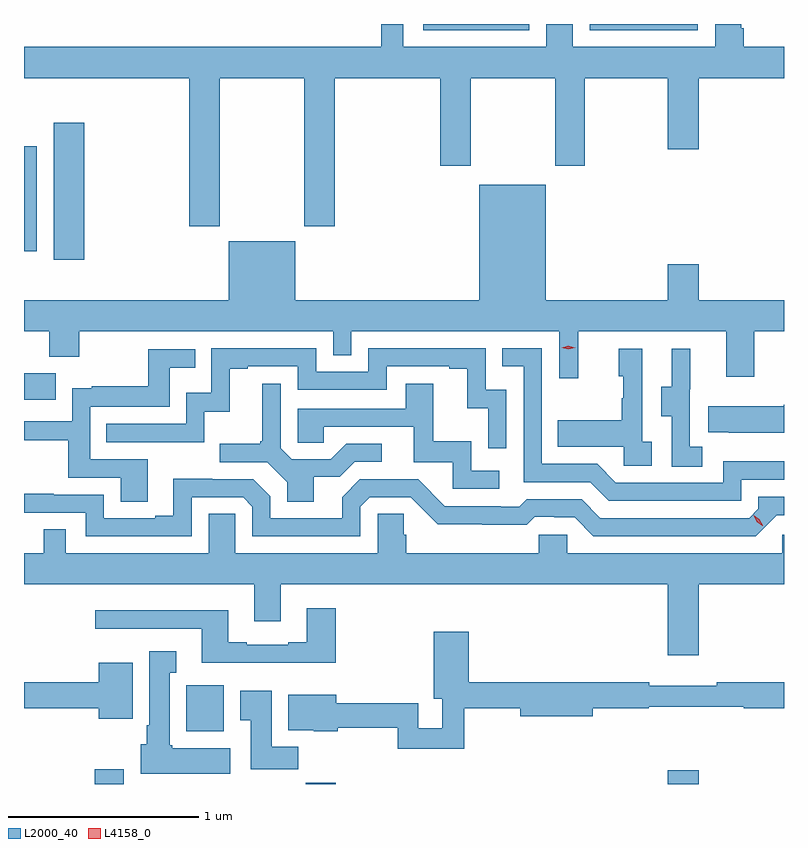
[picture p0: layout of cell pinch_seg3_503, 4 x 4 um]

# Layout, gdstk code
import gdstk
lib = gdstk.Library(unit=1e-6, precision=1e-09)
def R(c, l, rs):  # rectangles x0, y0, x1, y1
    for r in rs: c.add(gdstk.rectangle(r[:2], r[2:], *l))
def P(c, l, *ps):  # polygons
    for p in ps: c.add(gdstk.Polygon(p, *l))
L2000_40 = (2000, 40)
L4158_0 = (4158, 0)

pinch_seg3_503 = lib.new_cell('pinch_seg3_503')
R(pinch_seg3_503, L2000_40, [(989.165,675.889,989.317,675.967), (990.277,675.889,990.434,675.896), (992.18,675.889,992.344,675.961), (989.648,676.166,989.845,676.408), (988.793,677.912,988.961,678.052), (988.949,678.648,989.11,679.369), (988.793,678.694,988.86,679.246), (990.894,679.857,991.452,679.889), (991.77,679.857,992.34,679.889)])
P(pinch_seg3_503, L2000_40, [(989.823,679.604),(990.268,679.604),(990.268,678.825),(990.428,678.825),(990.428,679.604),(990.983,679.604),(990.983,679.143),(991.143,679.143),(991.143,679.604),(991.588,679.604),(991.588,679.143),(991.743,679.143),(991.743,679.604),(992.18,679.604),(992.18,679.23),(992.344,679.23),(992.344,679.604),(992.793,679.604),(992.793,679.768),(992.582,679.768),(992.582,679.866),(992.567,679.866),(992.567,679.889),(992.43,679.889),(992.43,679.768),(991.68,679.768),(991.68,679.889),(991.541,679.889),(991.541,679.768),(990.789,679.768),(990.789,679.889),(990.673,679.889),(990.673,679.768),(988.793,679.768),(988.793,679.604),(989.663,679.604),(989.663,678.825),(989.823,678.825)],
  [(991.709,678.272),(992.489,678.272),(992.489,678.033),(992.637,678.033),(992.637,678.272),(992.793,678.272),(992.793,678.436),(992.344,678.436),(992.344,678.625),(992.18,678.625),(992.18,678.436),(991.54,678.436),(991.54,679.042),(991.19,679.042),(991.19,678.436),(990.22,678.436),(990.22,678.745),(989.87,678.745),(989.87,678.436),(988.793,678.436),(988.793,678.272),(988.925,678.272),(988.925,678.137),(989.085,678.137),(989.085,678.272),(990.42,678.272),(990.42,678.145),(990.516,678.145),(990.516,678.272),(991.611,678.272),(991.611,678.024),(991.709,678.024)],
  [(991.332,677.964),(991.224,677.964),(991.224,678.183),(990.606,678.183),(990.606,678.06),(990.33,678.06),(990.33,678.183),(989.778,678.183),(989.778,677.947),(989.646,677.947),(989.646,677.784),(989.227,677.784),(989.227,677.688),(989.742,677.688),(989.742,677.849),(989.875,677.849),(989.875,678.075),(989.971,678.075),(989.971,678.087),(990.234,678.087),(990.234,677.964),(990.702,677.964),(990.702,678.087),(991.031,678.087),(991.031,678.075),(991.127,678.075),(991.127,677.867),(991.236,677.867),(991.236,677.655),(991.332,677.655)],
  [(992.568,677.49),(992.793,677.49),(992.793,677.587),(992.472,677.587),(992.472,677.475),(991.908,677.475),(991.809,677.574),(991.518,677.574),(991.518,678.183),(991.309,678.183),(991.309,678.087),(991.422,678.087),(991.422,677.478),(991.772,677.478),(991.871,677.379),(992.568,677.379)],
  [(992.362,677.663),(992.298,677.663),(992.298,677.967),(992.3,677.967),(992.3,678.181),(992.201,678.181),(992.201,677.979),(992.147,677.979),(992.147,677.824),(992.202,677.824),(992.202,677.56),(992.362,677.56)],
  [(992.098,677.69),(992.046,677.69),(992.046,678.181),(991.922,678.181),(991.922,678.036),(991.948,678.036),(991.948,677.918),(991.938,677.918),(991.938,677.803),(991.603,677.803),(991.603,677.663),(991.95,677.663),(991.95,677.565),(992.098,677.565)],
  [(989.443,677.598),(989.142,677.598),(989.142,677.874),(989.559,677.874),(989.559,678.08),(989.693,678.08),(989.693,678.177),(989.448,678.177),(989.448,677.983),(989.149,677.983),(989.149,677.971),(989.046,677.971),(989.046,677.799),(988.793,677.799),(988.793,677.698),(989.026,677.698),(989.026,677.502),(989.303,677.502),(989.303,677.374),(989.443,677.374)],
  [(990.319,677.506),(990.454,677.506),(990.534,677.586),(990.676,677.586),(990.676,677.679),(990.488,677.679),(990.407,677.598),(990.201,677.598),(990.144,677.655),(990.144,677.995),(990.047,677.995),(990.047,677.692),(990.036,677.692),(990.036,677.68),(989.823,677.68),(989.823,677.583),(990.072,677.583),(990.179,677.476),(990.179,677.374),(990.319,677.374)],
  [(991.294,677.538),(991.146,677.538),(991.146,677.692),(990.947,677.692),(990.947,677.995),(990.803,677.995),(990.803,677.865),(990.234,677.865),(990.234,677.685),(990.371,677.685),(990.371,677.769),(990.845,677.769),(990.845,677.583),(991.05,677.583),(991.05,677.442),(991.294,677.442)],
  [(992.793,677.886),(992.792,677.886),(992.792,677.878),(992.395,677.878),(992.395,677.741),(992.503,677.741),(992.503,677.738),(992.793,677.738)],
  [(989.676,677.397),(989.946,677.397),(989.994,677.349),(989.994,677.193),(990.564,677.193),(990.564,677.349),(990.612,677.397),(990.828,677.397),(990.97,677.255),(991.206,677.255),(991.206,677.253),(991.439,677.253),(991.481,677.295),(991.584,677.295),(991.584,677.292),(991.691,677.292),(991.79,677.193),(992.643,677.193),(992.754,677.304),(992.793,677.304),(992.793,677.4),(992.658,677.4),(992.658,677.337),(992.61,677.289),(991.827,677.289),(991.728,677.388),(991.439,677.388),(991.4,677.349),(991.301,677.349),(991.301,677.352),(991.008,677.352),(990.867,677.493),(990.561,677.493),(990.467,677.399),(990.467,677.289),(990.09,677.289),(990.09,677.403),(990,677.493),(989.784,677.493),(989.784,677.495),(989.579,677.495),(989.579,677.302),(989.483,677.302),(989.483,677.289),(989.214,677.289),(989.214,677.412),(988.949,677.412),(988.949,677.417),(988.793,677.417),(988.793,677.316),(989.118,677.316),(989.118,677.193),(989.676,677.193)],
  [(992.344,676.94),(992.793,676.94),(992.793,677.202),(992.784,677.202),(992.784,677.104),(991.653,677.104),(991.653,677.202),(991.503,677.202),(991.503,677.104),(990.806,677.104),(990.806,677.202),(990.791,677.202),(990.791,677.312),(990.654,677.312),(990.654,677.104),(989.904,677.104),(989.904,677.312),(989.765,677.312),(989.765,677.104),(989.013,677.104),(989.013,677.231),(988.897,677.231),(988.897,677.104),(988.793,677.104),(988.793,676.94),(990.005,676.94),(990.005,676.746),(990.145,676.746),(990.145,676.94),(992.18,676.94),(992.18,676.566),(992.344,676.566)],
  [(990.434,676.813),(990.281,676.813),(990.281,676.636),(990.185,676.636),(990.185,676.623),(989.965,676.623),(989.965,676.636),(989.869,676.636),(989.869,676.804),(989.169,676.804),(989.169,676.707),(989.729,676.707),(989.729,676.526),(990.434,676.526)],
  [(991.109,676.288),(991.406,676.288),(991.406,676.246),(991.786,676.246),(991.786,676.288),(992.082,676.288),(992.082,676.296),(992.582,676.296),(992.582,676.288),(992.793,676.288),(992.793,676.424),(992.44,676.424),(992.44,676.405),(992.084,676.405),(992.084,676.424),(991.133,676.424),(991.133,676.69),(990.95,676.69),(990.95,676.337),(990.993,676.337),(990.993,676.183),(990.867,676.183),(990.867,676.313),(990.436,676.313),(990.436,676.36),(990.185,676.36),(990.185,676.172),(990.318,676.172),(990.318,676.166),(990.444,676.166),(990.444,676.185),(990.759,676.185),(990.759,676.074),(991.109,676.074)],
  [(989.878,676.078),(989.574,676.078),(989.574,676.092),(989.56,676.092),(989.56,676.475),(989.593,676.475),(989.593,676.588),(989.453,676.588),(989.453,676.198),(989.438,676.198),(989.438,676.098),(989.408,676.098),(989.408,675.944),(989.878,675.944)],
  [(989.365,676.528),(989.186,676.528),(989.186,676.424),(988.793,676.424),(988.793,676.288),(989.186,676.288),(989.186,676.232),(989.365,676.232)],
  [(990.236,676.084),(990.097,676.084),(990.097,676.381),(989.93,676.381),(989.93,676.225),(989.987,676.225),(989.987,675.966),(990.236,675.966)])
P(pinch_seg3_503, L4158_0, [(992.679,677.249),(992.649,677.269),(992.633,677.302),(992.633,677.303),(992.634,677.303),(992.664,677.283),(992.68,677.25),(992.68,677.249)],
  [(991.658,678.176),(991.622,678.186),(991.622,678.186),(991.622,678.186),(991.658,678.196),(991.694,678.186),(991.694,678.186),(991.694,678.186)])

lib.write_gds('pinch_seg3_503.gds')
